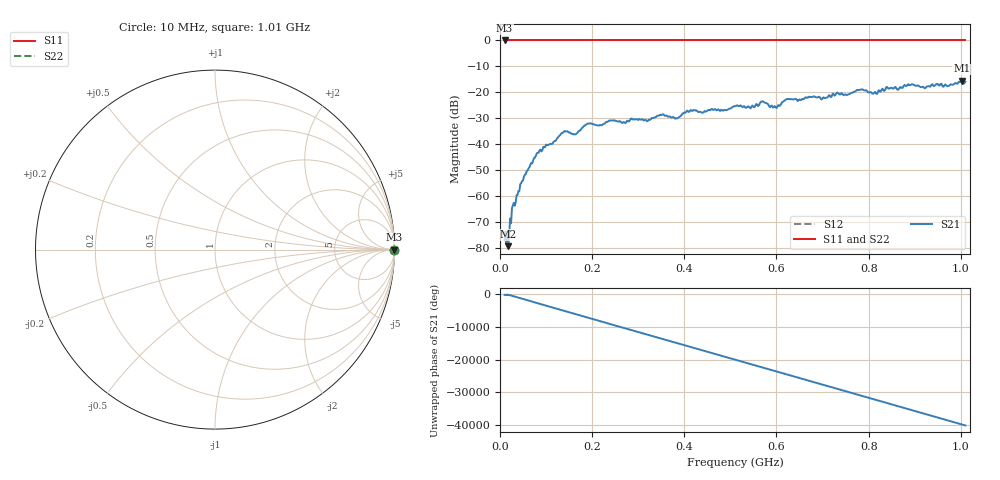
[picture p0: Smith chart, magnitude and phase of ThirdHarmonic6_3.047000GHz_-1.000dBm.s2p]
! 8/17/2025 8:50:32 AM
! C:\ANRITSUVNA\TEMP\TEMP.S2P
! CHANNEL.1
! TR.MEASUREMENT
! RAW.DATA
! RF.CORRECTION.OFF
! AVERAGING.OFF
! IF.BANDWIDTH: 5KHZ
! SWEEPTYPE:  FREQ.SWEEP(Linear)
! Reference Plane Port Info
! PORT:  PORT1  PORT2
! DISTANCE:  0  m  0  m
! TIME:  0  s  0  s
! PHASE.OFFSET:  0  deg.  0  deg.
! LOSS:  0  dB  0  dB
! REF.LOSS:  0  dB  0  dB
! REF.FREQ:  0  Hz  0  Hz
! Power Info
! POWER:  -20  dBm  -20  dBm
! EFF.POWER:  -20  dBm  -20  dBm
! SOURCE.ATTEN:  0  dB  0  dB
! TEST.ATTEN:  0  dB  0  dB
# GHZ S RI R 50.0
! FREQ.GHZ  S11RE  S11IM  S21RE  S21IM  S12RE  S12IM  S22RE  S22IM
!; PortSelection: Port_12
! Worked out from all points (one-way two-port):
!   501 points, 10 MHz to 1.01 GHz, reference 50 ohm
!   highest |S21| = -15.57 dB at 1.002 GHz (marker M1); lowest = -79.4 dB at 18 MHz (marker M2)
!   lowest |S11| = 0.0 dB at 10 MHz (marker M3)
!   |S11| at or under -10 dB: nowhere
!   |S22| runs from 0.0 to 0.0 dB; largest |S21 - S12| = 1.2
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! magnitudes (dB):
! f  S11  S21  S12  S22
! 10 MHz  0.0  -76.9  0.0  0.0
! 18 MHz  0.0  -79.4  0.0  0.0
! 26 MHz  0.0  -64.6  0.0  0.0
! 40 MHz  0.0  -58.1  0.0  0.0
! 78 MHz  0.0  -44.4  0.0  0.0
! 136 MHz  0.0  -35.7  0.0  0.0
! 162 MHz  0.0  -36.2  0.0  0.0
! 178 MHz  0.0  -33.8  0.0  0.0
! 344 MHz  0.0  -29.1  0.0  0.0
! 384 MHz  0.0  -30.1  0.0  0.0
! 410 MHz  0.0  -27.6  0.0  0.0
! 510 MHz  0.0  -25.3  0.0  0.0
! 548 MHz  0.0  -25.1  0.0  0.0
! 570 MHz  0.0  -23.4  0.0  0.0
! 596 MHz  0.0  -25.3  0.0  0.0
! 624 MHz  0.0  -22.6  0.0  0.0
! 678 MHz  0.0  -21.8  0.0  0.0
! 784 MHz  0.0  -18.9  0.0  0.0
! 814 MHz  0.0  -19.8  0.0  0.0
! 844 MHz  0.0  -18.6  0.0  0.0
! 1.002 GHz  0.0  -15.6  0.0  0.0
! 1.01 GHz  0.0  -15.9  0.0  0.0
